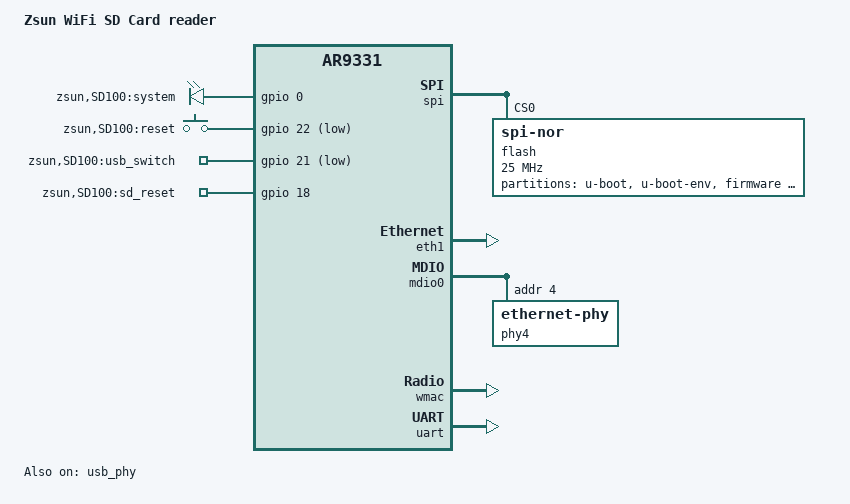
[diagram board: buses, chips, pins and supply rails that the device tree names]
// SPDX-License-Identifier: GPL-2.0-or-later OR MIT
/dts-v1/;

#include <dt-bindings/gpio/gpio.h>
#include <dt-bindings/input/input.h>

#include "ar9331.dtsi"

/ {
	compatible = "zsun,SD100", "qca,ar9331";
	model = "Zsun WiFi SD Card reader";

	aliases {
		serial0 = &uart;
		led-boot = &system;
		led-failsafe = &system;
		led-running = &system;
		led-upgrade = &system;
	};


	gpio-leds {
		compatible = "gpio-leds";
		pinctrl-names = "default";
		pinctrl-0 = <&switch_led_pins>;

		system: system {
			label = "zsun,SD100:system";
			gpios = <&gpio 0 GPIO_ACTIVE_HIGH>;
		};

	};

	gpio-keys-polled {
		compatible = "gpio-keys-polled";
		poll-interval = <20>;

		reset {
			label = "zsun,SD100:reset";
			linux,input-type = <EV_KEY>;
			linux,code = <BTN_1>;
			gpios = <&gpio 22 GPIO_ACTIVE_LOW>;
			debounce-interval = <60>;
		};
	};

	gpio_export {
	compatible = "gpio-export";
	#size-cells = <0>;

		usb_switch {
			gpio-export,name = "zsun,SD100:usb_switch";
			gpio-export,output = <1>;
			gpios = <&gpio 21 GPIO_ACTIVE_LOW>;
		};

		sd_reset {
			gpio-export,name = "zsun,SD100:sd_reset";
			gpio-export,output = <1>;
			gpio-export,direction_may_change = <1>;
			gpios = <&gpio 18 GPIO_ACTIVE_HIGH>;
		};

	};

};

&spi {
	status = "okay";
	num-cs = <1>;

	flash@0 {
		compatible = "jedec,spi-nor";
		reg = <0>; // Check
		spi-max-frequency = <25000000>; // Check

		partitions {
			compatible = "fixed-partitions";
			#address-cells = <1>;
			#size-cells = <1>;

			u_boot: partition@0 {
				reg = <0x0 0x10000>;
				label = "u-boot";
				read-only;
			};

			u_boot_env: partition@10000 {
				reg = <0x10000 0x10000>;
				label = "u-boot-env";
				read-only;
			};

			firmware: partition@20000 {
				reg = <0x20000 0xFC0000>;
				label = "firmware";
			};

			nvram: partition@fe0000 {
				reg = <0xFE0000 0x10000>;
				label = "nvram";
				read-only;
			};

			art: partition@ff0000 {
				reg = <0xFF0000 0x10000>;
				label = "art";
				read-only;
			};
		};
	};
};


&eth1 {
	status = "okay";
	mtd-mac-address = <&art 0x0006>;
};

&gpio {
	status = "okay";
};

&mdio0 {
	status = "okay";

	phy4: ethernet-phy@4 {
		reg = <4>;
	};
};

&usb_phy { //or &_usb, check
	status = "okay";
};

&wmac {
	status = "okay";
	mtd-cal-data = <&art 0x1000>;
	mtd-mac-address = <&art 0x1002>;
};

&uart {
	status = "okay";
};
